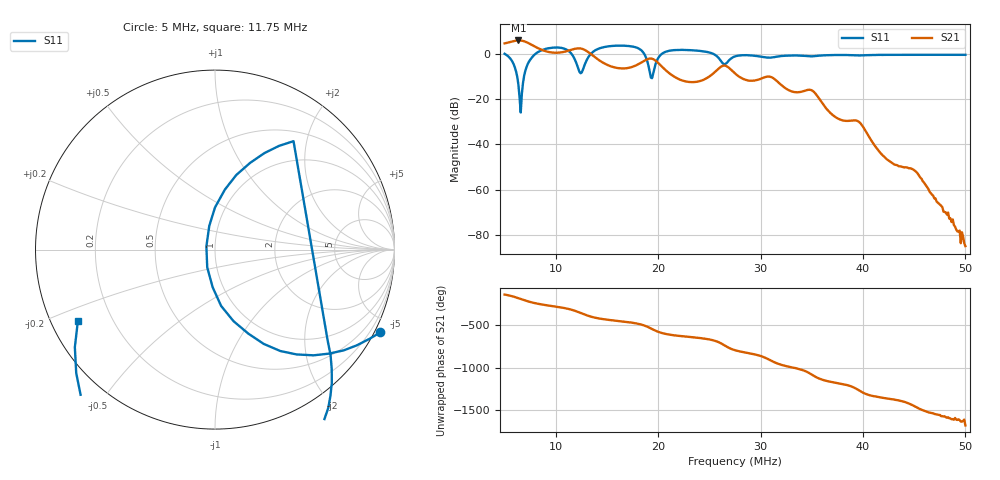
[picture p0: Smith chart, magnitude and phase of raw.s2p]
! S11/S21 only; reverse parameters are placeholders. Device calibration unverified.
! NanoVNA F V2 profile | COM3 | 2026-09-08T11:42:01.1203711-04:00 | device calibration unverified
# HZ S RI R 50
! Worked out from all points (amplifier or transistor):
!   401 points, 5 MHz to 50 MHz, reference 50 ohm
!   highest |S21| = 6.2 dB at 6.35 MHz (marker M1)
!   |S21| within 3 dB of that: start of sweep to 8.077 MHz
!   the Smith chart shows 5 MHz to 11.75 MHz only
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5000000  0.9208 -0.4616  -1.284 -1.193  0 0  0 0
6350000  -0.0133 -0.2091  -2.034 0.023  0 0  0 0
7250000  0.2749 0.5375  -1.461 1.072  0 0  0 0
8037500  0.6433 -0.8141  -0.7106 1.27  0 0  0 0
1.02875e7  -0.161 -1.405  0.2794 1.054  0 0  0 0
1.16375e7  -0.7808 -0.5436  0.9866 0.8278  0 0  0 0
1.25375e7  0.0204 0.3979  1.332 0.0072  0 0  0 0
1.3325e7  0.9562 0.1292  0.8728 -0.5924  0 0  0 0
1.4225e7  1.266 -0.4665  0.3757 -0.6396  0 0  0 0
1.77125e7  0.4939 -1.367  -0.2303 -0.5031  0 0  0 0
1.895e7  -0.4649 -0.5027  -0.7223 -0.2992  0 0  0 0
1.95125e7  0.0369 0.3764  -0.7684 0.1473  0 0  0 0
2.0075e7  0.7954 0.3732  -0.4734 0.4026  0 0  0 0
2.12e7  1.204 -0.1516  -0.1109 0.3461  0 0  0 0
2.39e7  1.035 -0.6158  0.0764 0.2379  0 0  0 0
2.62625e7  0.4845 -0.4306  0.5508 -0.0146  0 0  0 0
2.75e7  0.8568 -0.2753  0.1045 -0.3635  0 0  0 0
3.07625e7  0.7114 -0.4571  -0.322 0.00482  0 0  0 0
3.50375e7  0.6553 -0.6234  0.1569 -0.0129  0 0  0 0
4.2575e7  0.4418 -0.8697  0.0013 0.00407  0 0  0 0
4.51625e7  0.344 -0.9159  0.00232 -0.00096  0 0  0 0
5e7  0.1587 -0.9625  -2.6e-05 4.9e-05  0 0  0 0
